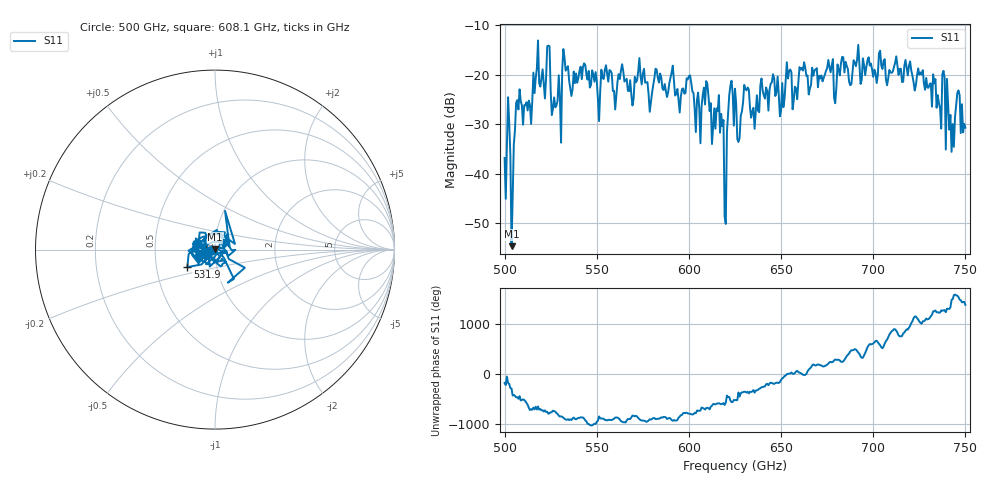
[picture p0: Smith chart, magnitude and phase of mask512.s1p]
!Created with skrf (http://scikit-rf.org).
# GHz S MA R 50.0
!freq magS11 angS11
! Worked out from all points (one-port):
!   401 points, 500 GHz to 750 GHz, reference 50 ohm
!   lowest |S11| = -54.6 dB at 503.8 GHz (marker M1), VSWR 1.00, Z = 50.1 + j0.178 ohm
!   |S11| at or under -10 dB: start of sweep to end of sweep
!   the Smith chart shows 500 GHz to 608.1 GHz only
!   S11 on the Smith chart (normalised r, x): 500 GHz: 0.97, -0.00; 531.9 GHz: 0.72, -0.15; 608.1 GHz: 1.13, +0.09
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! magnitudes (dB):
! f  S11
! 500 GHz  -36.8
! 501.9 GHz  -24.5
! 503.8 GHz  -54.6
! 507.5 GHz  -27.0
! 513.8 GHz  -26.1
! 516.9 GHz  -20.7
! 523.8 GHz  -14.1
! 526.9 GHz  -24.5
! 531.2 GHz  -19.0
! 531.9 GHz  -14.8
! 562.5 GHz  -20.8
! 593.8 GHz  -22.8
! 608.1 GHz  -22.6
! 617.5 GHz  -27.9
! 619.4 GHz  -48.6
! 620.6 GHz  -31.6
! 622.5 GHz  -22.2
! 625 GHz  -22.8
! 627.5 GHz  -32.7
! 631.2 GHz  -23.1
! 635 GHz  -26.7
! 645 GHz  -21.5
! 656.2 GHz  -27.0
! 687.5 GHz  -22.1
! 718.8 GHz  -20.1
! 738.8 GHz  -20.7
! 742.5 GHz  -35.5
! 750 GHz  -30.6
